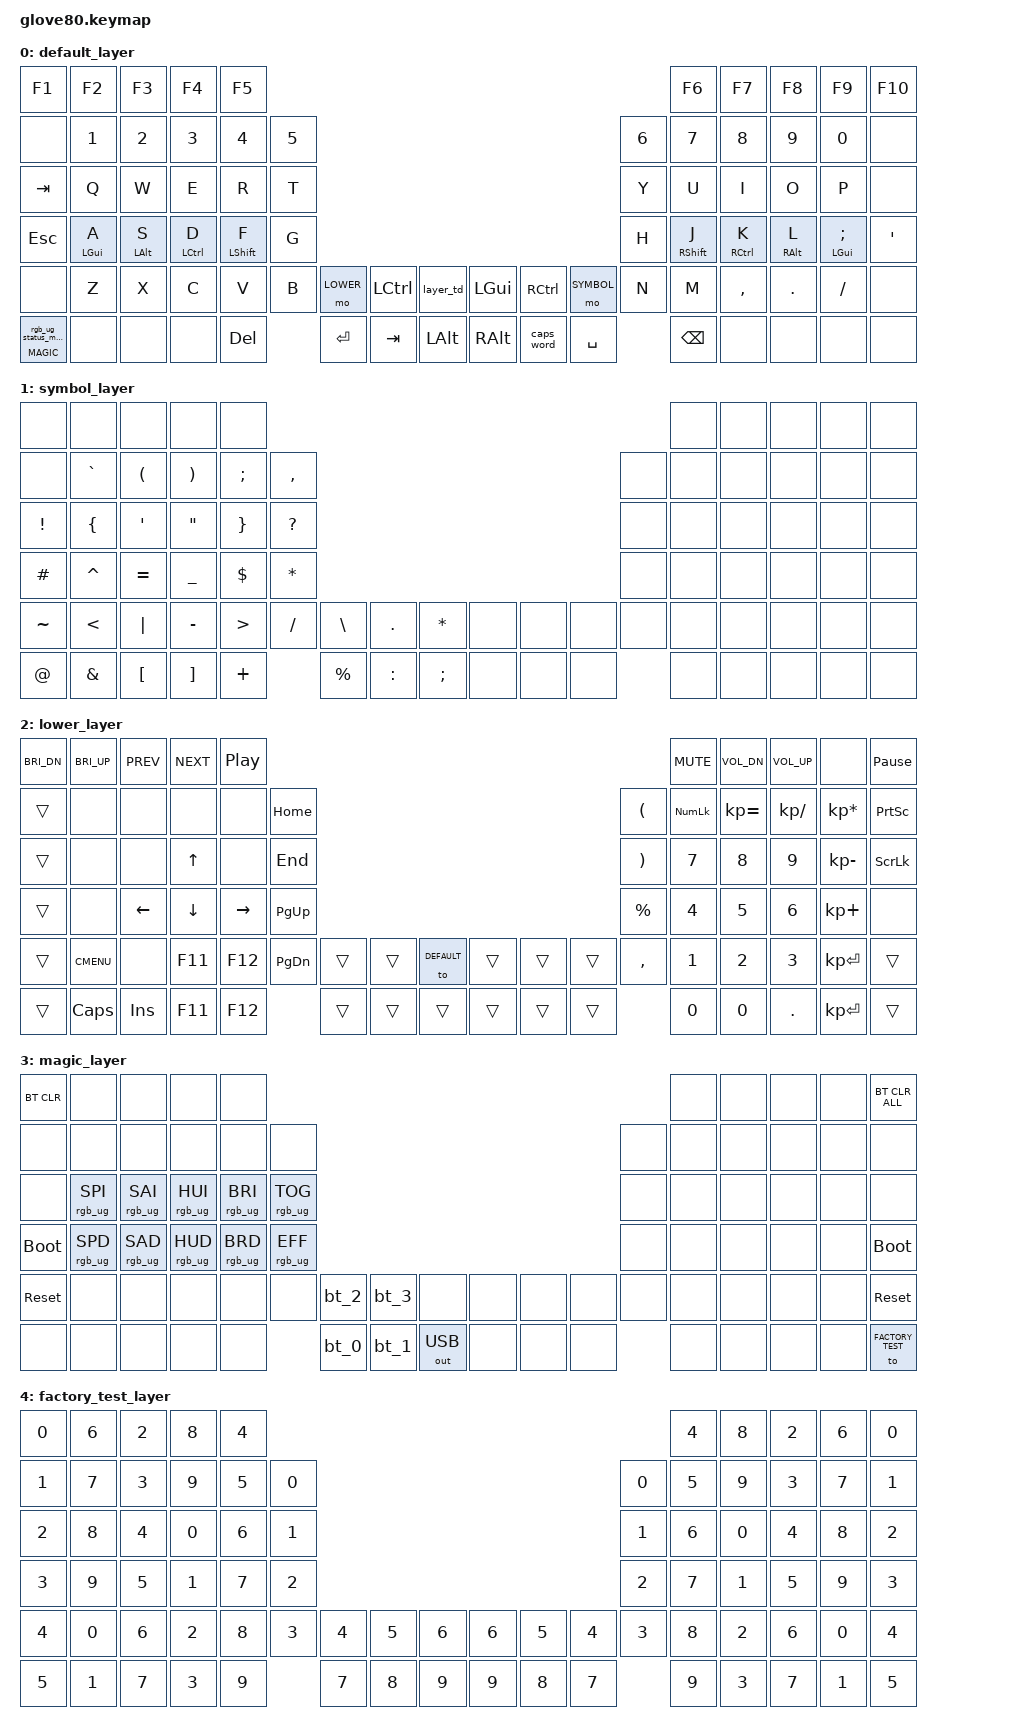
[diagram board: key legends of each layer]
/*
 * Copyright (c) 2020 The ZMK Contributors
 *
 * SPDX-License-Identifier: MIT
 */

#include <behaviors.dtsi>
#include <dt-bindings/zmk/keys.h>
#include <dt-bindings/zmk/bt.h>
#include <dt-bindings/zmk/ext_power.h>
#include <dt-bindings/zmk/outputs.h>
#include <dt-bindings/zmk/rgb.h>

#define HYPER LC(LS(LG(LALT)))

// layers
#define DEFAULT      0
#define SYMBOL       1
#define LOWER        2
#define MAGIC        3
#define FACTORY_TEST 4

/**
* index=(row×NUMBER_OF_COLUMNS)+column
* RC(0, 0) = (0 * 14) + 0
* RC(0, 1) = (0 * 14) + 1
*
* q = 29
* w = 30
* e = 31
* r = 32
*
* a = RC(3, 1) = 43
* s = RC(3, 2) = 44
* d = RC(3, 3) = 45
* f = RC(3, 4) = 46
*
*
* u = 37
* i = 38
* o = 39
* p = 40
* j = RC(3, 9) = 51
* k = RC(3, 10) = 52
* l = RC(3, 11) = 53
* ; = RC(3, 12) = 54

* index=(row×NUMBER_OF_COLUMNS)+column
* t = RC(2, 5) = 2 * 14 + 5
*/
#define P_F1 0
#define P_F2 1
#define P_F3 2
#define P_F4 3
#define P_F5 4
#define P_F6 5
#define P_F7 6
#define P_F8 7
#define P_F9 8
#define P_F10 9
#define P_EQ 10
#define P_1 11
#define P_2 12
#define P_3 13
#define P_4 14
#define P_5 15
#define P_6 16
#define P_7 17
#define P_8 18
#define P_9 19
#define P_0 20
#define P_MINUS 21
#define P_R2C0 22
#define P_Q 23
#define P_W 24
#define P_E 25
#define P_R 26
#define P_T 27
#define P_Y 28
#define P_U 29
#define P_I 30
#define P_O 31
#define P_P 32
#define P_BACKSLASH 33
#define P_ESC 34
#define P_A 35
#define P_S 36
#define P_D 37
#define P_F 38
#define P_G 39
#define P_H 40
#define P_J 41
#define P_K 42
#define P_L 43
#define P_SEMI_COL 44
#define P_S_QUOTE 45
#define P_WAVE 46
#define P_Z 47
#define P_X 48
#define P_C 49
#define P_V 50
#define P_B 51
#define P_N 52
#define P_M 53
#define P_COMMA 54
#define P_DOT 55
#define P_SLASH 56

#define COMBO_TIMEOUT 180
#define MACRO_TAP 10
#define MACRO_WAIT 0

/ {
    behaviors {
        // For the "layer" key, it'd nice to be able to use it as either a shift or a toggle.
        // Configure it as a tap dance, so the first tap (or hold) is a &mo and the second tap is a &to
        layer_td: tap_dance_0 {
            compatible = "zmk,behavior-tap-dance";
            label = "LAYER_TAP_DANCE";
            #binding-cells = <0>;
            tapping-term-ms = <200>;
            bindings = <&mo LOWER>, <&to LOWER>;
        };

        magic: magic_hold_tap {
            compatible = "zmk,behavior-hold-tap";
            label = "MAGIC_HOLD_TAP";
            #binding-cells = <2>;
            flavor = "tap-preferred";
            tapping-term-ms = <200>;
            bindings = <&mo>, <&rgb_ug_status_macro>;
        };

	    hm: homerow_mods {
            compatible = "zmk,behavior-hold-tap";
            flavor = "tap-preferred";
            #binding-cells = <2>;
            tapping-term-ms = <280>;
	        quick-tap-ms = <175>;
            require-prior-idle-ms = <150>;
            bindings = <&kp>, <&kp>;
	        hold-trigger-on-release;
        };
    };

    macros {
        rgb_ug_status_macro: rgb_ug_status_macro_0 {
            label = "RGB_UG_STATUS";
            compatible = "zmk,behavior-macro";
            #binding-cells = <0>;
            bindings
                = <&rgb_ug RGB_STATUS>;
        };

        bt_0: bt_profile_macro_0 {
            label = "BT_0";
            compatible = "zmk,behavior-macro";
            #binding-cells = <0>;
            bindings
                = <&out OUT_BLE>,
                  <&bt BT_SEL 0>;
        };

        bt_1: bt_profile_macro_1 {
            label = "BT_1";
            compatible = "zmk,behavior-macro";
            #binding-cells = <0>;
            bindings
                = <&out OUT_BLE>,
                  <&bt BT_SEL 1>;
        };

        bt_2: bt_profile_macro_2 {
            label = "BT_2";
            compatible = "zmk,behavior-macro";
            #binding-cells = <0>;
            bindings
                = <&out OUT_BLE>,
                  <&bt BT_SEL 2>;
        };

        bt_3: bt_profile_macro_3 {
            label = "BT_3";
            compatible = "zmk,behavior-macro";
            #binding-cells = <0>;
            bindings
                = <&out OUT_BLE>,
                  <&bt BT_SEL 3>;
        };

// GEN_MACRO_START
m_gen_chord_the: m_gen_chord_the {
    compatible = "zmk,behavior-macro";
    #binding-cells = <0>;
    bindings = <&kp T>, <&kp H>, <&kp E>;
};
m_gen_chord_const: m_gen_chord_const {
    compatible = "zmk,behavior-macro";
    #binding-cells = <0>;
    bindings = <&kp C>, <&kp O>, <&kp N>, <&kp S>, <&kp T>;
};
m_gen_chord_let: m_gen_chord_let {
    compatible = "zmk,behavior-macro";
    #binding-cells = <0>;
    bindings = <&kp L>, <&kp E>, <&kp T>;
};
m_gen_chord_return: m_gen_chord_return {
    compatible = "zmk,behavior-macro";
    #binding-cells = <0>;
    bindings = <&kp R>, <&kp E>, <&kp T>, <&kp U>, <&kp R>, <&kp N>;
};
m_gen_chord_from: m_gen_chord_from {
    compatible = "zmk,behavior-macro";
    #binding-cells = <0>;
    bindings = <&kp F>, <&kp R>, <&kp O>, <&kp M>;
};
m_gen_chord_while: m_gen_chord_while {
    compatible = "zmk,behavior-macro";
    #binding-cells = <0>;
    bindings = <&kp W>, <&kp H>, <&kp I>, <&kp L>, <&kp E>;
};
m_gen_chord_his: m_gen_chord_his {
    compatible = "zmk,behavior-macro";
    #binding-cells = <0>;
    bindings = <&kp H>, <&kp I>, <&kp S>;
};
m_gen_chord_other: m_gen_chord_other {
    compatible = "zmk,behavior-macro";
    #binding-cells = <0>;
    bindings = <&kp O>, <&kp T>, <&kp H>, <&kp E>, <&kp R>;
};
m_gen_chord_how: m_gen_chord_how {
    compatible = "zmk,behavior-macro";
    #binding-cells = <0>;
    bindings = <&kp H>, <&kp O>, <&kp W>;
};
m_gen_chord_hot: m_gen_chord_hot {
    compatible = "zmk,behavior-macro";
    #binding-cells = <0>;
    bindings = <&kp H>, <&kp O>, <&kp T>;
};
m_gen_chord_your: m_gen_chord_your {
    compatible = "zmk,behavior-macro";
    #binding-cells = <0>;
    bindings = <&kp Y>, <&kp O>, <&kp U>, <&kp R>;
};
m_gen_chord_you: m_gen_chord_you {
    compatible = "zmk,behavior-macro";
    #binding-cells = <0>;
    bindings = <&kp Y>, <&kp O>, <&kp U>;
};
// GEN_MACRO_END

    };

    combos {
        //
        compatible = "zmk,combos";

        combo_caps_word {
            timeout-ms = <COMBO_TIMEOUT>;
            key-positions = <P_F P_R>;
            bindings = <&caps_word>;
        };

// == GEN_COMBO_START
combo_gen_the {
    timeout-ms = <COMBO_TIMEOUT>;
    key-positions = <P_T P_H P_E>;
    bindings = <&m_gen_chord_the>;
};
combo_gen_const {
    timeout-ms = <COMBO_TIMEOUT>;
    key-positions = <P_C P_S P_O>;
    bindings = <&m_gen_chord_const>;
};
combo_gen_let {
    timeout-ms = <COMBO_TIMEOUT>;
    key-positions = <P_L P_E P_T>;
    bindings = <&m_gen_chord_let>;
};
combo_gen_return {
    timeout-ms = <COMBO_TIMEOUT>;
    key-positions = <P_R P_E P_U>;
    bindings = <&m_gen_chord_return>;
};
combo_gen_from {
    timeout-ms = <COMBO_TIMEOUT>;
    key-positions = <P_F P_O P_M>;
    bindings = <&m_gen_chord_from>;
};
combo_gen_while {
    timeout-ms = <COMBO_TIMEOUT>;
    key-positions = <P_W P_H P_I>;
    bindings = <&m_gen_chord_while>;
};
combo_gen_his {
    timeout-ms = <COMBO_TIMEOUT>;
    key-positions = <P_H P_I P_S>;
    bindings = <&m_gen_chord_his>;
};
combo_gen_other {
    timeout-ms = <COMBO_TIMEOUT>;
    key-positions = <P_O P_H P_T>;
    bindings = <&m_gen_chord_other>;
};
combo_gen_how {
    timeout-ms = <COMBO_TIMEOUT>;
    key-positions = <P_H P_O>;
    bindings = <&m_gen_chord_how>;
};
combo_gen_hot {
    timeout-ms = <COMBO_TIMEOUT>;
    key-positions = <P_H P_T>;
    bindings = <&m_gen_chord_hot>;
};
combo_gen_your {
    timeout-ms = <COMBO_TIMEOUT>;
    key-positions = <P_Y P_R>;
    bindings = <&m_gen_chord_your>;
};
combo_gen_you {
    timeout-ms = <COMBO_TIMEOUT>;
    key-positions = <P_Y P_U>;
    bindings = <&m_gen_chord_you>;
};
// == GEN_COMBO_END

    };

    keymap {
        compatible = "zmk,keymap";

        default_layer {
            // ---------------------------------------------------------------------------------------------------------------------------------
            // |  F1   |  F2 |  F3 |  F4  |  F5  |                                                               |  F6   |  F7   |  F8  |   F9  |  F10 |
            // |  =    |  1  |  2  |  3   |  4   |  5   |                                                 |  6   |   7   |   8   |  9   |   0   |   -  |
            // |  TAB  |  Q  |  W  |  E   |  R   |  T   |                                                 |  Y   |   U   |   I   |  O   |   P   |   \  |
            // |  ESC  |  A  |  S  |  D   |  F   |  G   |                                                 |  H   |   J   |   K   |  L   |   ;   |   '  |
            // |   `   |  Z  |  X  |  C   |  V   |  B   | LSHFT | LCTRL | LOWER | | LGUI  | RCTRL | RSHFT |  N   |   M   |   ,   |  .   |   /   | PGUP |
            // | MAGIC | HOME| END | LEFT | RIGHT|      | BSPC  | DEL   | LALT  | | RALT  | RET   | SPACE |      |  UP   | DOWN  |  [   |   ]   | PGDN |

            bindings = <
            &kp F1         &kp F2      &kp F3      &kp F4       &kp F5                                                                                            &kp F6       &kp F7      &kp F8      &kp F9        &kp F10
            &none          &kp N1      &kp N2      &kp N3       &kp N4       &kp N5                                                                       &kp N6  &kp N7       &kp N8      &kp N9      &kp N0        &none
            &kp TAB        &kp Q       &kp W       &kp E        &kp R        &kp T                                                                        &kp Y   &kp U        &kp I       &kp O       &kp P         &none
            &kp ESC        &hm LGUI A  &hm LALT S  &hm LCTRL D  &hm LSHIFT F &kp G                                                                        &kp H   &hm RSHIFT J &hm RCTRL K &hm RALT L  &hm LGUI SEMI &kp SQT
            &none          &kp Z       &kp X       &kp C        &kp V        &kp B   &mo LOWER   &kp LCTRL   &layer_td  &kp LGUI  &kp RCTRL   &mo SYMBOL  &kp N   &kp M        &kp COMMA   &kp DOT     &kp FSLH      &none
            &magic MAGIC 0 &none       &none       &none        &kp DELETE           &kp ENTER   &kp TAB     &kp LALT   &kp RALT  &caps_word  &kp SPACE           &kp BSPC     &none       &none       &none         &none
            >;
        };

        symbol_layer {
            bindings = <
            &none          &none         &none         &none      &none                                                                                          &none        &none      &none       &none     &none
            &none          &kp GRAVE     &kp LPAR      &kp RPAR   &kp SEMI    &kp COMMA                                                                 &none    &none        &none      &none       &none     &none
            &kp EXCL       &kp LBRC      &kp SQT       &kp DQT    &kp RBRC    &kp QMARK                                                                 &none    &none        &none      &none       &none     &none
            &kp HASH       &kp CARET     &kp EQUAL     &kp UNDER  &kp DLLR    &kp STAR                                                                  &none    &none        &none      &none       &none     &none
            &kp TILDE      &kp LT        &kp PIPE      &kp MINUS  &kp GT      &kp FSLH   &kp BSLH     &kp DOT     &kp STAR   &none     &none     &none  &none    &none        &none      &none       &none     &none
            &kp AT         &kp AMPS      &kp LBKT      &kp RBKT   &kp PLUS               &kp PRCNT    &kp COLON   &kp SEMI   &none     &none     &none           &none        &none      &none       &none     &none
            >;
        };

        lower_layer {
            bindings = <
            &kp C_BRI_DN      &kp C_BRI_UP        &kp C_PREV      &kp C_NEXT      &kp C_PP                                                                                                           &kp C_MUTE   &kp C_VOL_DN &kp C_VOL_UP  &none           &kp PAUSE_BREAK
            &trans            &none               &none           &none           &none           &kp HOME                                                                              &kp LPAR     &kp KP_NUM   &kp KP_EQUAL &kp KP_DIVIDE &kp KP_MULTIPLY &kp PSCRN
            &trans            &none               &none           &kp UP          &none           &kp END                                                                               &kp RPAR     &kp N7       &kp N8       &kp N9        &kp KP_MINUS    &kp SLCK
            &trans            &none               &kp LEFT        &kp DOWN        &kp RIGHT       &kp PG_UP                                                                             &kp PRCNT    &kp N4       &kp N5       &kp N6        &kp KP_PLUS     &none
            &trans            &kp K_CMENU         &none           &kp F11         &kp F12         &kp PG_DN       &trans      &trans      &to DEFAULT &trans      &trans      &trans    &kp COMMA    &kp N1       &kp N2       &kp N3        &kp KP_ENTER    &trans
            &trans            &kp CAPS            &kp INS         &kp F11         &kp F12                         &trans      &trans      &trans      &trans      &trans      &trans                 &kp N0       &kp N0       &kp DOT       &kp KP_ENTER    &trans
            >;
        };

        magic_layer {
            bindings = <
            &bt BT_CLR        &none               &none           &none           &none                                                                                                           &none      &none      &none      &none      &bt BT_CLR_ALL
            &none             &none               &none           &none           &none           &none                                                                                &none      &none      &none      &none      &none      &none
            &none             &rgb_ug RGB_SPI     &rgb_ug RGB_SAI &rgb_ug RGB_HUI &rgb_ug RGB_BRI &rgb_ug RGB_TOG                                                                      &none      &none      &none      &none      &none      &none
            &bootloader       &rgb_ug RGB_SPD     &rgb_ug RGB_SAD &rgb_ug RGB_HUD &rgb_ug RGB_BRD &rgb_ug RGB_EFF                                                                      &none      &none      &none      &none      &none      &bootloader
            &sys_reset        &none               &none           &none           &none           &none           &bt_2     &bt_3     &none            &none     &none     &none       &none      &none      &none      &none      &none      &sys_reset
            &none             &none               &none           &none           &none                           &bt_0     &bt_1     &out OUT_USB     &none     &none     &none                  &none      &none      &none      &none      &to FACTORY_TEST
            >;
        };

        factory_test_layer {
            bindings = <
            &kp N0   &kp N6   &kp N2   &kp N8   &kp N4                                                                              &kp N4   &kp N8   &kp N2   &kp N6   &kp N0
            &kp N1   &kp N7   &kp N3   &kp N9   &kp N5   &kp N0                                                            &kp N0   &kp N5   &kp N9   &kp N3   &kp N7   &kp N1
            &kp N2   &kp N8   &kp N4   &kp N0   &kp N6   &kp N1                                                            &kp N1   &kp N6   &kp N0   &kp N4   &kp N8   &kp N2
            &kp N3   &kp N9   &kp N5   &kp N1   &kp N7   &kp N2                                                            &kp N2   &kp N7   &kp N1   &kp N5   &kp N9   &kp N3
            &kp N4   &kp N0   &kp N6   &kp N2   &kp N8   &kp N3   &kp N4   &kp N5   &kp N6      &kp N6   &kp N5   &kp N4   &kp N3   &kp N8   &kp N2   &kp N6   &kp N0   &kp N4
            &kp N5   &kp N1   &kp N7   &kp N3   &kp N9            &kp N7   &kp N8   &kp N9      &kp N9   &kp N8   &kp N7            &kp N9   &kp N3   &kp N7   &kp N1   &kp N5
            >;
        };
    };
};
